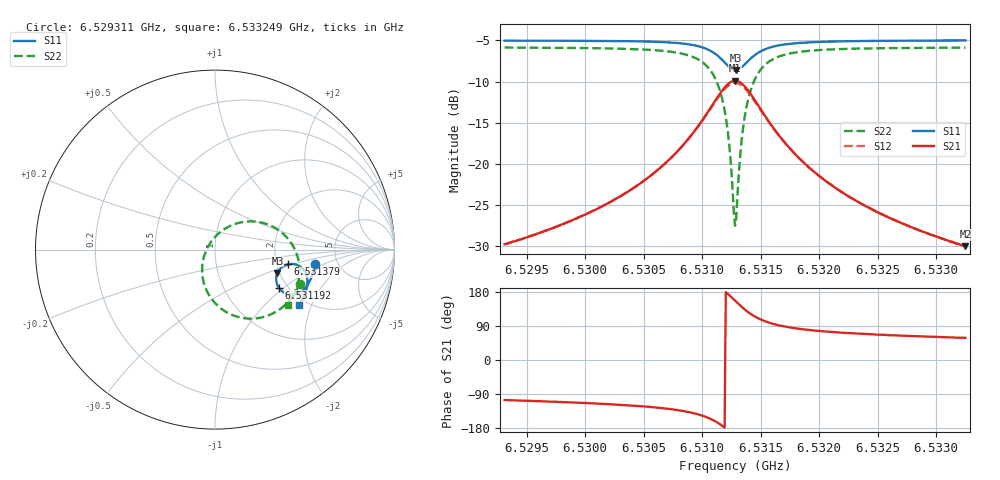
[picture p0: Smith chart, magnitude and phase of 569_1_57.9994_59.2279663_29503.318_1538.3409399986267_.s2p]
#  HZ  S  RI  R  50.00
! Rohde & Schwarz Vector Network Analyzer
! Rohde-Schwarz,ZNB20-2Port,1311601062101988,3.16
! Created: UTC 3/21/2024, 1:15:50 AM
! freq[Hz]  re:S11  im:S11  re:S21  im:S21  re:S12  im:S12  re:S22  im:S22
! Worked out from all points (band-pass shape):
!   401 points, 6.529311 GHz to 6.533249 GHz, reference 50 ohm
!   highest |S21| = -9.89 dB at 6.53128 GHz (marker M1); lowest = -30.0 dB at 6.533249 GHz (marker M2)
!   |S21| within 3 dB of the highest: 6.531085 GHz to 6.531478 GHz (393.7 kHz wide, 0.00603 % of centre)
!   lowest |S11| = -8.6 dB at 6.53129 GHz (marker M3), VSWR 2.18, Z = 97.5 - j29.5 ohm
!   |S11| at or under -10 dB: nowhere
!   |S22| runs from -27.5 to -5.9 dB; largest |S21 - S12| = 0.013
!   S11 on the Smith chart (normalised r, x): 6.529311 GHz: 3.35, -0.79; 6.531192 GHz: 1.80, -0.92; 6.531379 GHz: 2.29, -0.46; 6.533249 GHz: 1.82, -1.64
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6.529311e9  0.5548 -0.0811  -0.00878 -0.0313  -0.00937 -0.031  0.472 -0.1906
6.5299707e9  0.5427 -0.1362  -0.019 -0.0442  -0.02 -0.0438  0.4387 -0.2517
6.5303153e9  0.5312 -0.1683  -0.0309 -0.0566  -0.0321 -0.0559  0.4071 -0.2917
6.5306304e9  0.5122 -0.2026  -0.0548 -0.0754  -0.057 -0.0737  0.3526 -0.3384
6.5308569e9  0.4837 -0.2316  -0.0966 -0.0943  -0.0995 -0.091  0.2687 -0.3757
6.5310242e9  0.4378 -0.2497  -0.1677 -0.0992  -0.1697 -0.0923  0.1388 -0.3778
6.5311227e9  0.3913 -0.2422  -0.2393 -0.07  -0.2378 -0.0599  0.0192 -0.3164
6.5311916e9  0.3556 -0.2124  -0.291 -0.0078  -0.2844 0.00243  -0.0568 -0.2031
6.5312212e9  0.3452 -0.1908  -0.3041 0.0327  -0.295 0.0415  -0.0711 -0.1339
6.5312409e9  0.3414 -0.174  -0.3069 0.0631  -0.2964 0.0703  -0.0704 -0.0835
6.5312605e9  0.3414 -0.1563  -0.3039 0.0948  -0.2923 0.1001  -0.0596 -0.0323
6.5312802e9  0.3449 -0.1386  -0.2944 0.1259  -0.2826 0.1291  -0.0386 0.0167
6.5312901e9  0.3482 -0.1302  -0.2874 0.1407  -0.2755 0.1427  -0.0246 0.0394
6.5313393e9  0.3756 -0.0961  -0.2345 0.1987  -0.2248 0.1966  0.0713 0.1254
6.5313787e9  0.4042 -0.0824  -0.1829 0.2218  -0.1759 0.218  0.1597 0.1546
6.5314476e9  0.4497 -0.083  -0.1041 0.2218  -0.1006 0.2183  0.2916 0.1411
6.5315461e9  0.4887 -0.1068  -0.0372 0.1878  -0.0355 0.1858  0.3993 0.0687
6.5316938e9  0.5108 -0.1443  0.00234 0.138  0.00368 0.1372  0.4573 -0.0309
6.5319399e9  0.5156 -0.1884  0.0185 0.0896  0.0196 0.0894  0.4704 -0.1312
6.532255e9  0.5082 -0.2265  0.0207 0.0596  0.0216 0.0595  0.4582 -0.2008
6.5325996e9  0.4965 -0.2585  0.0194 0.0427  0.0202 0.0425  0.4402 -0.2479
6.5332495e9  0.4707 -0.3078  0.0166 0.0269  0.0172 0.0265  0.4055 -0.3067
